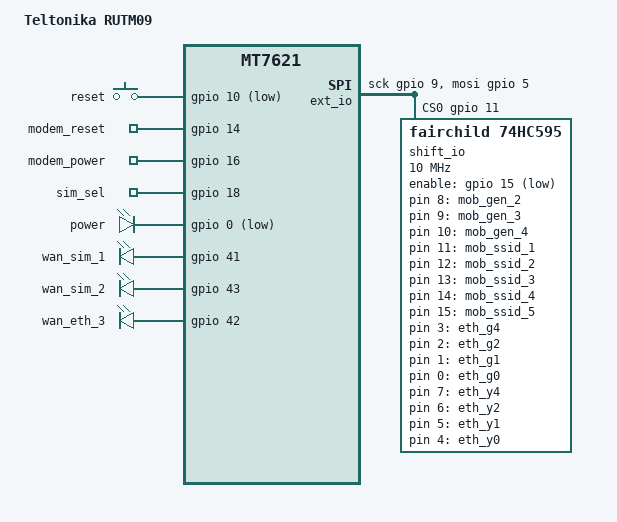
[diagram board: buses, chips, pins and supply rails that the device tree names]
#include "mt7621-teltonika-rutm-common.dtsi"

/ {
	compatible = "teltonika,rutm", "mediatek,mt7621-soc";
	model = "Teltonika RUTM09";

	ext_io {
		compatible = "spi-gpio";
		#address-cells = <1>;
		#size-cells = <0>;

		gpio-sck = <&gpio 9 GPIO_ACTIVE_HIGH>;	// 74HC595 SRCLK (Serial Clock)
		gpio-mosi = <&gpio 5 GPIO_ACTIVE_HIGH>;	// 74HC595 SER (Serial)
		cs-gpios = <&gpio 11 GPIO_ACTIVE_HIGH>;	// 74HC595 RCLK (Register Clock)
		num-chipselects = <1>;

		shift_io: shift_io@0 {
			compatible = "fairchild,74hc595";
			reg = <0>;
			gpio-controller;
			#gpio-cells = <2>;
			registers-number = <2>;
			spi-max-frequency = <10000000>;
			enable-gpios = <&gpio 15 GPIO_ACTIVE_LOW>;
		};
	};

	keys {
		compatible = "gpio-keys";

		reset {
			label = "reset";
			gpios = <&gpio 10 GPIO_ACTIVE_LOW>;
			linux,code = <KEY_RESTART>;
		};
	};

	gpio-export {
		compatible = "gpio-export";
		#size-cells = <0>;

		gpio_modem_reset {
			gpio-export,name = "modem_reset";
			gpio-export,output = <0>;
			gpios = <&gpio 14 GPIO_ACTIVE_HIGH>;
		};

		gpio_modem_power {
			gpio-export,name = "modem_power";
			gpio-export,output = <1>; // tmp
			gpios = <&gpio 16 GPIO_ACTIVE_HIGH>;
		};

		gpio_sim_select {
			gpio-export,name = "sim_sel";
			gpio-export,output = <0>;
			gpios = <&gpio 18 GPIO_ACTIVE_HIGH>;
		};
	};

	leds {
		compatible = "gpio-leds";

		led_power {
			label = "power";
			gpios = <&gpio 0 GPIO_ACTIVE_LOW>;
			default-state = "on";
			retain-state-shutdown;
		};

		led_wan_sim1 {
			label = "wan_sim_1";
			gpios = <&gpio 41 GPIO_ACTIVE_HIGH>;
		};

		led_wan_sim2 {
			label = "wan_sim_2";
			gpios = <&gpio 43 GPIO_ACTIVE_HIGH>;
		};

		led_wan_eth {
			label = "wan_eth_3";
			gpios = <&gpio 42 GPIO_ACTIVE_HIGH>;
		};

		led_gen_2 {
			label = "mob_gen_2";
			gpios = <&shift_io 8 GPIO_ACTIVE_HIGH>;
		};

		led_gen_3 {
			label = "mob_gen_3";
			gpios = <&shift_io 9 GPIO_ACTIVE_HIGH>;
		};

		led_gen_4 {
			label = "mob_gen_4";
			gpios = <&shift_io 10 GPIO_ACTIVE_HIGH>;
		};

		led_ssid_1 {
			label = "mob_ssid_1";
			gpios = <&shift_io 11 GPIO_ACTIVE_HIGH>;
			linux,default-trigger = "timer"; // only
		};

		led_ssid_2 {
			label = "mob_ssid_2";
			gpios = <&shift_io 12 GPIO_ACTIVE_HIGH>;
			linux,default-trigger = "timer"; // only
		};

		led_ssid_3 {
			label = "mob_ssid_3";
			gpios = <&shift_io 13 GPIO_ACTIVE_HIGH>;
			linux,default-trigger = "timer"; // only
		};

		led_ssid_4 {
			label = "mob_ssid_4";
			gpios = <&shift_io 14 GPIO_ACTIVE_HIGH>;
			linux,default-trigger = "timer"; // only
		};

		led_ssid_5 {
			label = "mob_ssid_5";
			gpios = <&shift_io 15 GPIO_ACTIVE_HIGH>;
			linux,default-trigger = "timer"; //only
		};

		led_eth_g4 {
			label = "eth_g4";
			gpios = <&shift_io 3 GPIO_ACTIVE_HIGH>;
		};

		led_eth_g2 {
			label = "eth_g2";
			gpios = <&shift_io 2 GPIO_ACTIVE_HIGH>;
		};

		led_eth_g1 {
			label = "eth_g1";
			gpios = <&shift_io 1 GPIO_ACTIVE_HIGH>;
		};

		led_eth_g0 {
			label = "eth_g0";
			gpios = <&shift_io 0 GPIO_ACTIVE_HIGH>;
		};

		led_eth_y4 {
			label = "eth_y4";
			gpios = <&shift_io 7 GPIO_ACTIVE_HIGH>;
		};

		led_eth_y2 {
			label = "eth_y2";
			gpios = <&shift_io 6 GPIO_ACTIVE_HIGH>;
		};

		led_eth_y1 {
			label = "eth_y1";
			gpios = <&shift_io 5 GPIO_ACTIVE_HIGH>;
		};

		led_eth_y0 {
			label = "eth_y0";
			gpios = <&shift_io 4 GPIO_ACTIVE_HIGH>;
		};
	};

	tlt_gpios { // Modify according to wiki page "DTS syntax with Libgpiod changes"
		gpiochip_info {
			hw_0 {
				hwver = <0>;
				gpiochip_count = <4>;

				gpiochip_0 = <32>; // Built-in
				gpiochip_1 = <32>; // Built-in
				gpiochip_2 = <32>; // Built-in
				gpiochip_3 = <16>; // Shift Register
			};
		};

		ioman {
			GPIO_8 {
				line_name = "GPIO_OUT_1";
			};
			GPIO_12 {
				line_name = "GPIO_IN_1";
				active_low;
			};
		};

		misc {
			GPIO_14 {
				line_name = "GPIO_MODEM_RESET_1";
			};
			GPIO_16 {
				line_name = "GPIO_MODEM_POWER_1";
			};
			GPIO_18 {
				line_name = "GPIO_SIM_SELECT";
			};
		};
	};
};

&state_default {
	gpio {
		groups = "wdt", "jtag", "sdhci", "uart2", "uart3";
		function = "gpio";
	};
};

&switch0 {
	ports {
		port@0 {
			status = "okay";
			label = "lan1";
		};

		port@1 {
			status = "okay";
			label = "lan2";
		};

		port@2 {
			status = "okay";
			label = "lan3";
		};
	};
};

&mnfinfo {
	sim_cfg {
		default = "2111000_2112000";
	};
};
